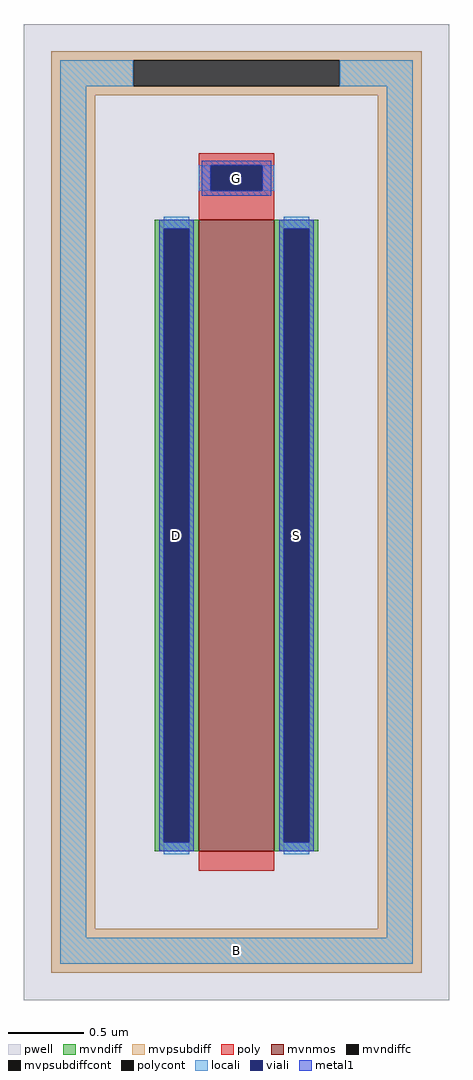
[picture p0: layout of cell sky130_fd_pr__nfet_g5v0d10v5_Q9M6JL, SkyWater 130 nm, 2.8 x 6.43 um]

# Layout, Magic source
magic
tech sky130A
magscale 1 2
<< pwell >>
rect -280 -643 280 643
<< mvnmos >>
rect -50 -447 50 385
<< mvndiff >>
rect -108 373 -50 385
rect -108 -435 -96 373
rect -62 -435 -50 373
rect -108 -447 -50 -435
rect 50 373 108 385
rect 50 -435 62 373
rect 96 -435 108 373
rect 50 -447 108 -435
<< mvndiffc >>
rect -96 -435 -62 373
rect 62 -435 96 373
<< mvpsubdiff >>
rect -244 595 244 607
rect -244 561 -136 595
rect 136 561 244 595
rect -244 549 244 561
rect -244 -549 -186 549
rect 186 -549 244 549
rect -244 -607 244 -549
<< mvpsubdiffcont >>
rect -136 561 136 595
<< poly >>
rect -50 457 50 473
rect -50 423 -34 457
rect 34 423 50 457
rect -50 385 50 423
rect -50 -473 50 -447
<< polycont >>
rect -34 423 34 457
<< locali >>
rect -232 561 -136 595
rect 136 561 232 595
rect -232 -561 -198 561
rect -50 423 -34 457
rect 34 423 50 457
rect -96 373 -62 389
rect -96 -451 -62 -435
rect 62 373 96 389
rect 62 -451 96 -435
rect 198 -561 232 561
rect -232 -595 232 -561
<< viali >>
rect -34 423 34 457
rect -96 -435 -62 373
rect 62 -435 96 373
<< metal1 >>
rect -46 457 46 463
rect -46 423 -34 457
rect 34 423 46 457
rect -46 417 46 423
rect -102 373 -56 385
rect -102 -435 -96 373
rect -62 -435 -56 373
rect -102 -447 -56 -435
rect 56 373 102 385
rect 56 -435 62 373
rect 96 -435 102 373
rect 56 -447 102 -435
<< labels >>
rlabel mvpsubdiff 0 -578 0 -578 0 B
port 1 nsew
rlabel mvndiffc -79 -31 -79 -31 0 D
port 2 nsew
rlabel mvndiffc 79 -31 79 -31 0 S
port 3 nsew
rlabel polycont 0 440 0 440 0 G
port 4 nsew
<< properties >>
string FIXED_BBOX -215 -578 215 578
string gencell sky130_fd_pr__nfet_g5v0d10v5
string library sky130
string parameters w 4.16 l 0.5 m 1 nf 1 diffcov 100 polycov 100 guard 1 glc 0 grc 0 gtc 1 gbc 0 tbcov 100 rlcov 100 topc 1 botc 0 poverlap 0 doverlap 1 lmin 0.50 wmin 0.42 class mosfet compatible {sky130_fd_pr__nfet_01v8 sky130_fd_pr__nfet_01v8_lvt  sky130_fd_bs_flash__special_sonosfet_star  sky130_fd_pr__nfet_g5v0d10v5 sky130_fd_pr__nfet_05v0_nvt  sky130_fd_pr__nfet_03v3_nvt} full_metal 1 conn_gates 0 viasrc 100 viadrn 100 viagate 100 viagb 0 viagr 0 viagl 0 viagt 0 doports 1
<< end >>
